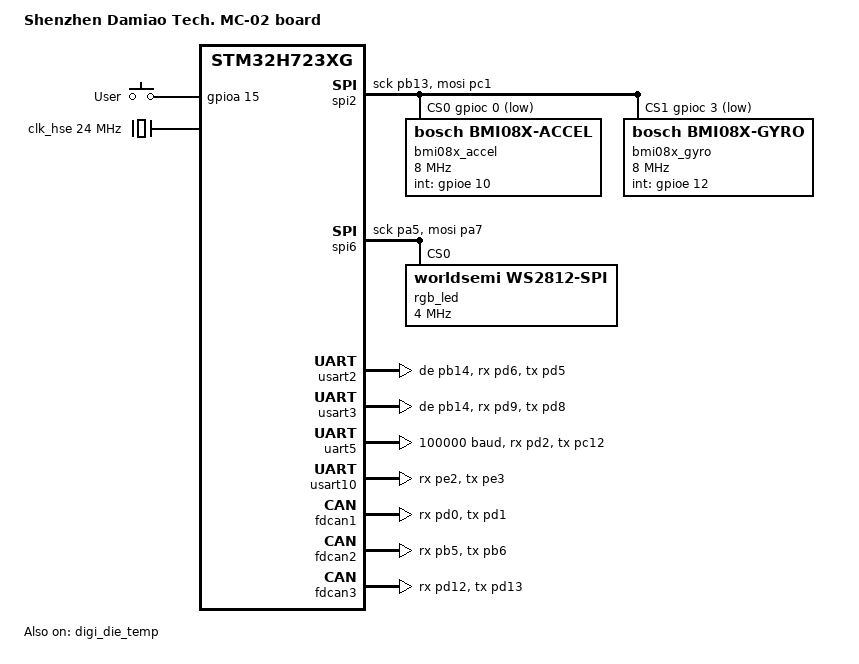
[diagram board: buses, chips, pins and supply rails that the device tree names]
/*
 * Copyright (c) 2025 RobotPilots-SZU
 * SPDX-License-Identifier: Apache-2.0
 */

/dts-v1/;

#include <st/h7/stm32h723Xg.dtsi>
#include <st/h7/stm32h723vgtx-pinctrl.dtsi>

#include <zephyr/dt-bindings/spi/spi.h>
#include <zephyr/dt-bindings/led/led.h>
#include <zephyr/dt-bindings/input/input-event-codes.h>

/ {
    model = "Shenzhen Damiao Tech. MC-02 board";
    compatible = "damiao,mc02";

    chosen {
        zephyr,console = &usart10;
		zephyr,shell-uart = &usart10;
		zephyr,sram = &sram0;
		zephyr,button = &user_button;
		zephyr,flash = &flash0;
		zephyr,dtcm = &dtcm;
		zephyr,itcm = &itcm;
    };

    gpio_keys {
        compatible = "gpio-keys";
        user_button: button_0 {
            label = "User";
            gpios = <&gpioa 15 GPIO_ACTIVE_HIGH>;
            zephyr,code = <INPUT_KEY_0>;
        };
    };

    aliases {
        sw0 = &user_button;
    };
};

&clk_lsi {
    status = "okay";
};

&clk_hsi48 {
    status = "okay";
};

&clk_hse {
    clock-frequency = <DT_FREQ_M(24)>; /* On-board 24MHz RCC */
    status = "okay";
};

&pll {
    div-m = <12>;
    mul-n = <275>;
    div-p = <1>;    /* DIVP1: 550 MHz */
    div-q = <2>;    /* DIVQ1: 275 MHz */
    div-r = <2>;    /* DIVR1: 275 MHz */
    clocks = <&clk_hse>;
    status = "okay";
};

&pll2 {
    div-m = <2>;
    mul-n = <40>;
    div-p = <4>;    /* DIVP2: 120 MHz */
    div-q = <4>;    /* DIVQ2: 120 MHz */
    div-r = <2>;    /* DIVR2: 240 MHz */
    clocks = <&clk_hse>;
    status = "okay";
};

&rcc {
    clocks = <&pll>;
    clock-frequency = <DT_FREQ_M(550)>;
    d1cpre = <1>;   /* CPU: 550   MHz */
    hpre = <2>;     /* HCLK: 275   MHz */
    d1ppre = <2>;   /* APB1: 137.5 MHz */
    d2ppre1 = <2>;  /* APB2: 137.5 MHz */
    d2ppre2 = <2>;  /* APB3: 137.5 MHz */
    d3ppre = <2>;   /* APB4: 137.5 MHz */
};

&backup_sram {
    status = "okay";
};

&dma1 {
    status = "okay";
};

&dma2 {
    status = "okay";
};

&dmamux1 {
    status = "okay";
};

&digi_die_temp {
    status = "okay";
};

&spi2 {
    status = "okay";
    clocks = <&rcc STM32_CLOCK(APB1, 14U)>,
             <&rcc STM32_SRC_PLL2_P SPI123_SEL(0)>;
    pinctrl-0 = <&spi2_sck_pb13 &spi2_miso_pc2_c &spi2_mosi_pc1>;
    pinctrl-names = "default";
    cs-gpios = <&gpioc 0 GPIO_ACTIVE_LOW>,
               <&gpioc 3 GPIO_ACTIVE_LOW>;
    dmas = <&dmamux1 2 2 STM32_DMA_PERIPH_TX>,
           <&dmamux1 1 1 STM32_DMA_PERIPH_RX>;
    dma-names = "tx", "rx";

    bmi08x_accel: bmi08x@0 {
        compatible = "bosch,bmi08x-accel";
        // SPI
        reg = <0>;
        spi-max-frequency = <DT_FREQ_M(8)>;
        // BMI08x
        int-gpios = <&gpioe 10 GPIO_ACTIVE_HIGH>;
        int1-map-io = <0x01>;
        int2-map-io = <0x00>;
        int1-conf-io = <0x04>;
        int2-conf-io = <0x00>;
        accel-hz = "800";
        accel-fs = <24>;
    };

    bmi08x_gyro: bmi08x@1 {
        compatible = "bosch,bmi08x-gyro";
        // SPI
        reg = <1>;
        spi-max-frequency = <DT_FREQ_M(8)>;
        // BMI08x
        int-gpios = <&gpioe 12 GPIO_ACTIVE_HIGH>;
        int3-4-map-io = <0x01>;
        int3-4-conf-io = <0x02>;
        gyro-hz = "1000_116";
        gyro-fs = <1000>;
    };
};

&spi6 {
    status = "okay";
    clocks = <&rcc STM32_CLOCK(APB4, 5U)>,
             <&rcc STM32_SRC_PLL2_Q SPI6_SEL(1)>;
    pinctrl-0 = <&spi6_sck_pa5 &spi6_mosi_pa7>;
    pinctrl-names = "default";

    rgb_led: ws2812@0 {
        compatible = "worldsemi,ws2812-spi";
        // SPI
        reg = <0>;
        spi-max-frequency = <DT_FREQ_M(4)>;
        frame-format = <SPI_FRAME_FORMAT_TI>;
        // WS2812
        chain-length = <1>;
        spi-one-frame = <0x70>;
        spi-zero-frame = <0x40>;
        color-mapping = <LED_COLOR_ID_GREEN>,
                        <LED_COLOR_ID_RED>,
                        <LED_COLOR_ID_BLUE>;
        reset-delay = <250>;
    };
};

&usart2 {
    // RS485
    status = "okay";
    pinctrl-0 = <&usart3_de_pb14 &usart2_rx_pd6 &usart2_tx_pd5>;
    pinctrl-names = "default";
    de-enable;
};

&usart3 {
    // RS485
    status = "okay";
    pinctrl-0 = <&usart3_de_pb14 &usart3_rx_pd9 &usart3_tx_pd8>;
    pinctrl-names = "default";
    de-enable;
};

&uart5 {
    // SBUS
    status = "okay";
    pinctrl-0 = <&uart5_rx_pd2 &uart5_tx_pc12>;
    pinctrl-names = "default";
    current-speed = <100000>;
    data-bits = <8>;
    stop-bits = "2";
};

&usart10 {
    status = "okay";
    pinctrl-0 = <&usart10_rx_pe2 &usart10_tx_pe3>;
    pinctrl-names = "default";
};

can1: &fdcan1 {
    status = "okay";
    clocks = <&rcc STM32_CLOCK(APB1_2, 8U)>,
             <&rcc STM32_SRC_PLL2_Q FDCAN_SEL(2)>;
    pinctrl-0 = <&fdcan1_rx_pd0 &fdcan1_tx_pd1>;
    pinctrl-names = "default";
};

can2: &fdcan2 {
    status = "okay";
    clocks = <&rcc STM32_CLOCK(APB1_2, 8U)>,
             <&rcc STM32_SRC_PLL2_Q FDCAN_SEL(2)>;
    pinctrl-0 = <&fdcan2_rx_pb5 &fdcan2_tx_pb6>;
    pinctrl-names = "default";
};

can3: &fdcan3 {
    status = "okay";
    clocks = <&rcc STM32_CLOCK(APB1_2, 8U)>,
             <&rcc STM32_SRC_PLL2_Q FDCAN_SEL(2)>;
    pinctrl-0 = <&fdcan3_rx_pd12 &fdcan3_tx_pd13>;
    pinctrl-names = "default";
};
